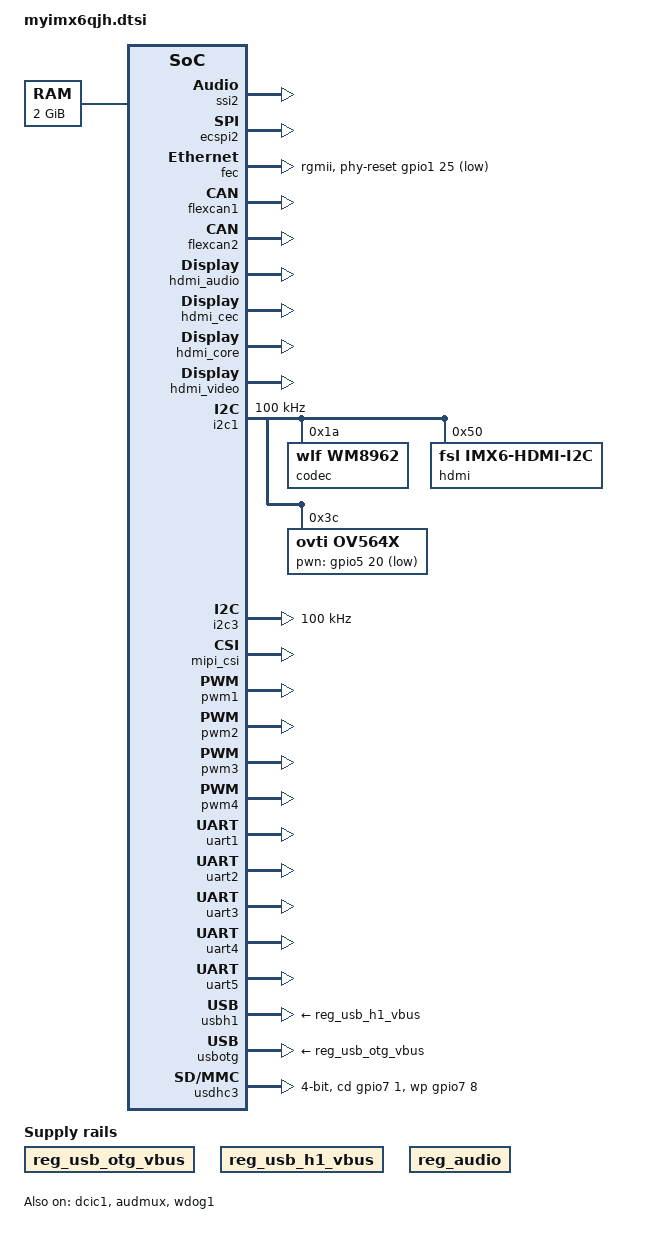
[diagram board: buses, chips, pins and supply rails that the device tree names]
/*
 * MYZR Technology Co.,Ltd
 * http://www.myzr.com.cn
 * Tang Bin <tangb@myzr.com.cn>
 */

#include <dt-bindings/input/input.h>
#include "myimx6cb336.dtsi"
#include "myimx6qjh-iomux.dtsi"

/ {
	aliases {
		mxcfb0 = &mxcfb1;
	};

	memory: memory {
		reg = <0x10000000 0x80000000>;
	};
	
	regulators {
		compatible = "simple-bus";
		#address-cells = <1>;
		#size-cells = <0>;

		reg_usb_otg_vbus: regulator@0 {
			compatible = "regulator-fixed";
			reg = <0>;
			regulator-name = "usb_otg_vbus";
			enable-active-high;
		};

		reg_usb_h1_vbus: regulator@1 {
			compatible = "regulator-fixed";
			reg = <1>;
			regulator-name = "usb_h1_vbus";
			enable-active-high;
		};

		reg_audio: regulator@2 {
			compatible = "regulator-fixed";
			reg = <2>;
			regulator-name = "wm8962-supply";
			enable-active-high;
		};
	};
	
	sound {
		compatible = "myzr,myimx6-wm8962",
			   "fsl,imx-audio-wm8962";
		model = "wm8962-audio";
		cpu-dai = <&ssi2>;
		audio-codec = <&codec>;
		asrc-controller = <&asrc>;
		audio-routing =
			"Headphone Jack", "HPOUTL",
			"Headphone Jack", "HPOUTR",
			"Ext Spk", "SPKOUTL",
			"Ext Spk", "SPKOUTR",
			"MICBIAS", "AMIC",
			"IN3R", "MICBIAS",
			"DMIC", "MICBIAS",
			"DMICDAT", "DMIC",
			"CPU-Playback", "ASRC-Playback",
			"Playback", "CPU-Playback",
			"ASRC-Capture", "CPU-Capture",
			"CPU-Capture", "Capture";
		mux-int-port = <2>;
		mux-ext-port = <3>;
		/* hp-det-gpios = <&gpio1 5 1>; */
		/* mic-det-gpios = <&gpio1 24 1>; */
	};

	sound-hdmi {
		compatible = "fsl,imx6q-audio-hdmi",
			     "fsl,imx-audio-hdmi";
		model = "imx-audio-hdmi";
		hdmi-controller = <&hdmi_audio>;
	};

	mxcfb1: fb@0 {
		compatible = "fsl,mxc_sdc_fb";
		disp_dev = "hdmi";
		interface_pix_fmt = "RGB24";
		mode_str ="1920x1080M@60";
		default_bpp = <24>;
		int_clk = <0>;
		late_init = <0>;
		status = "disabled";
	};
	
	v4l2_cap_0 {
		compatible = "fsl,imx6q-v4l2-capture";
		ipu_id = <0>;
		csi_id = <0>;
		mclk_source = <0>;
		status = "okay";
	};

	v4l2_cap_1 {
		compatible = "fsl,imx6q-v4l2-capture";
		ipu_id = <0>;
		csi_id = <1>;
		mclk_source = <0>;
		status = "okay";
	};

	v4l2_out {
		compatible = "fsl,mxc_v4l2_output";
		status = "okay";
	};
};

&iomuxc {
	pinctrl-names = "default";
	pinctrl-0 = <&pinctrl_pmic &pinctrl_rtc &pinctrl_wdt &pinctrl_nandf_pad1 &pinctrl_nandf_pad2 &pinctrl_nandf_pad2 &pinctrl_can1 &pinctrl_eim0_pad &pinctrl_enet_pad &pinctrl_lcd_gpio>;
};

&dcic1 {
	dcic_id = <0>;
	dcic_mux = "dcic-hdmi";
	status = "okay";
};

&gpc {
	fsl,ldo-bypass = <1>;
	fsl,wdog-reset = <1>;
};

&audmux {
	pinctrl-names = "default";
	pinctrl-0 = <&pinctrl_aud3>;
	status = "okay";
};

&ssi2 {
	fsl,mode = "i2s-slave";
	status = "okay";
};

&ecspi2 {
	fsl,spi-num-chipselects = <2>;
	cs-gpios = <&gpio2 26 0>, <&gpio2 27 0>;
	pinctrl-names = "default";
	pinctrl-0 = <&pinctrl_spi2>;
	status = "okay";
};

&fec {
	pinctrl-names = "default";
	pinctrl-0 = <&pinctrl_rgmii>;
	phy-mode = "rgmii";
	phy-reset-gpios = <&gpio1 25 0>;
	fsl,magic-packet;
	status = "okay";
};

&flexcan1 {
	pinctrl-names = "default";
	pinctrl-0 = <&pinctrl_can1>;
	status = "okay"; 
};

&flexcan2 {
	pinctrl-names = "default";
	pinctrl-0 = <&pinctrl_can2>;
	status = "okay";
};

&hdmi_audio {
	status = "okay";
};

&hdmi_cec {
	pinctrl-names = "default";
	pinctrl-0 = <&pinctrl_hdmi>;
	status = "okay";
};

&hdmi_core {
	ipu_id = <0>;
	disp_id = <0>;
	status = "okay";
};

&hdmi_video {
	fsl,phy_reg_vlev = <0x0294>;
	fsl,phy_reg_cksymtx = <0x800d>;
	status = "okay";
};

&i2c1 {
	clock-frequency = <100000>;
	pinctrl-names = "default";
	pinctrl-0 = <&pinctrl_i2c1>;
	status = "okay";

	codec: wm8962@1a {
		compatible = "wlf,wm8962";
		reg = <0x1a>;
		clocks = <&clks 201>;
		amic-mono;
		gpio-cfg = <
			0x0000 /* 0:Default */
			0x0000 /* 1:Default */
			0x0013 /* 2:FN_DMICCLK */
			0x0000 /* 3:Default */
			0x8014 /* 4:FN_DMICCDAT */
			0x0000 /* 5:Default */
		>;
       };
	
	hdmi: edid@50 {
		compatible = "fsl,imx6-hdmi-i2c";
		reg = <0x50>;
	};

	ov564x: ov564x@3c {
		compatible = "ovti,ov564x";
		reg = <0x3c>;
		pinctrl-names = "default";
		pinctrl-0 = <&pinctrl_csi0>;
		clocks = <&clks IMX6QDL_CLK_CKO>;
		clock-names = "csi_mclk";
		pwn-gpios = <&gpio5 20 1>;
		csi_id = <0>;
		mclk = <24000000>;
		mclk_source = <0>;
	};
};

&i2c3 {
	clock-frequency = <100000>;
	pinctrl-names = "default";
	pinctrl-0 = <&pinctrl_i2c3>;
	status = "okay";
};

&mipi_csi {
	status = "okay";
	ipu_id = <0>;
	csi_id = <1>;
	v_channel = <0>;
	lanes = <2>;
};

&pwm1 {
	status = "okay";
};

&pwm2 {
	status = "okay";
};

&pwm3 {
	status = "okay";
};

&pwm4 {
	status = "okay";
};

&uart1 {
	pinctrl-names = "default";
	pinctrl-0 = <&pinctrl_uart1>;
	status = "okay";
};

&uart2 {
	pinctrl-names = "default";
	pinctrl-0 = <&pinctrl_uart2>;
	status = "okay";
};

&uart3 {
	pinctrl-names = "default";
	pinctrl-0 = <&pinctrl_uart3>;
	status = "okay";
};

&uart4 {
	pinctrl-names = "default";
	pinctrl-0 = <&pinctrl_uart4>;
	status = "okay";
};

&uart5 {
	pinctrl-names = "default";
	pinctrl-0 = <&pinctrl_uart5>;
	status = "okay";
};

&usbh1 {
	vbus-supply = <&reg_usb_h1_vbus>;
	status = "okay";
};

&usbotg {
	vbus-supply = <&reg_usb_otg_vbus>;
	pinctrl-names = "default";
	pinctrl-0 = <&pinctrl_usb_otg>;
	disable-over-current;
	srp-disable;
	hnp-disable;
	adp-disable;
	status = "okay";
};

&usdhc3 {
	pinctrl-names = "default";
	pinctrl-0 = <&pinctrl_sd3>;
	bus-width = <4>;
	cd-gpios = <&gpio7 1 0>;
	wp-gpios = <&gpio7 8 0>;
	no-1-8-v;
	keep-power-in-suspend;
	enable-sdio-wakeup;
	status = "okay";
};

&wdog1 {
	status = "okay";
};

&wdog2 {
	status = "disabled";
};

&caam_snvs {
	status = "disabled";
};
